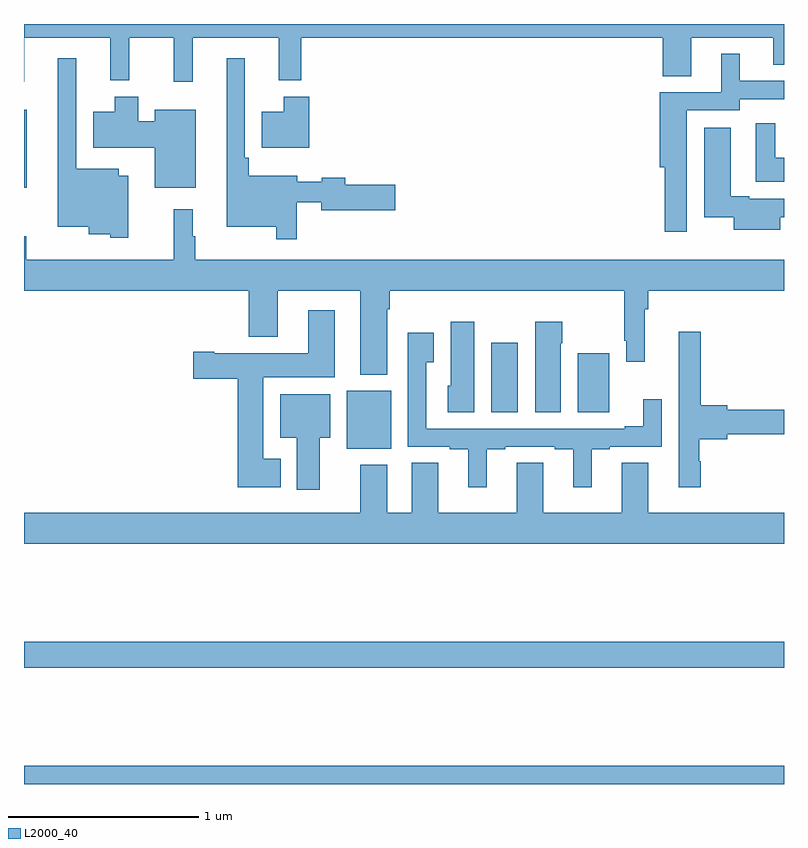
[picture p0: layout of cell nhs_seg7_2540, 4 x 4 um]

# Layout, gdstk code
import gdstk
lib = gdstk.Library(unit=1e-6, precision=1e-09)
def R(c, l, rs):  # rectangles x0, y0, x1, y1
    for r in rs: c.add(gdstk.rectangle(r[:2], r[2:], *l))
def P(c, l, *ps):  # polygons
    for p in ps: c.add(gdstk.Polygon(p, *l))
L2000_40 = (2000, 40)

nhs_seg7_2540 = lib.new_cell('nhs_seg7_2540')
R(nhs_seg7_2540, L2000_40, [(277,1018,281,1018.096), (277,1018.612,281,1018.748), (278.699,1019.765,278.932,1020.07), (279.458,1019.956,279.598,1020.322), (279.914,1019.956,280.081,1020.268), (277,1021.139,277.015,1021.549)])
P(nhs_seg7_2540, L2000_40, [(277.001,1021.928),(277.454,1021.928),(277.454,1021.703),(277.554,1021.703),(277.554,1021.928),(277.789,1021.928),(277.789,1021.695),(277.889,1021.695),(277.889,1021.928),(278.342,1021.928),(278.342,1021.703),(278.459,1021.703),(278.459,1021.928),(280.361,1021.928),(280.361,1021.726),(280.513,1021.726),(280.513,1021.928),(280.943,1021.928),(280.943,1021.786),(281,1021.786),(281,1022),(277,1022),(277,1021.695),(277.001,1021.695)],
  [(280.488,1021.545),(280.767,1021.545),(280.767,1021.605),(281,1021.605),(281,1021.701),(280.768,1021.701),(280.768,1021.843),(280.67,1021.843),(280.67,1021.641),(280.346,1021.641),(280.346,1021.247),(280.372,1021.247),(280.372,1020.906),(280.488,1020.906)],
  [(277.549,1021.201),(277.498,1021.201),(277.498,1021.237),(277.275,1021.237),(277.275,1021.819),(277.178,1021.819),(277.178,1020.932),(277.34,1020.932),(277.34,1020.893),(277.455,1020.893),(277.455,1020.875),(277.549,1020.875)],
  [(278.436,1021.062),(278.564,1021.062),(278.564,1021.019),(278.953,1021.019),(278.953,1021.154),(278.692,1021.154),(278.692,1021.19),(278.568,1021.19),(278.568,1021.171),(278.437,1021.171),(278.437,1021.201),(278.183,1021.201),(278.183,1021.297),(278.163,1021.297),(278.163,1021.819),(278.066,1021.819),(278.066,1020.932),(278.328,1020.932),(278.328,1020.867),(278.436,1020.867)],
  [(277.903,1021.549),(277.688,1021.549),(277.688,1021.489),(277.6,1021.489),(277.6,1021.618),(277.478,1021.618),(277.478,1021.537),(277.364,1021.537),(277.364,1021.349),(277.688,1021.349),(277.688,1021.139),(277.903,1021.139)],
  [(278.501,1021.618),(278.366,1021.618),(278.366,1021.537),(278.252,1021.537),(278.252,1021.349),(278.501,1021.349)],
  [(281,1021.297),(280.954,1021.297),(280.954,1021.477),(280.85,1021.477),(280.85,1021.169),(281,1021.169)],
  [(280.981,1020.984),(281,1020.984),(281,1021.08),(280.816,1021.08),(280.816,1021.093),(280.72,1021.093),(280.72,1021.453),(280.58,1021.453),(280.58,1020.982),(280.736,1020.982),(280.736,1020.917),(280.981,1020.917)],
  [(278.911,1020.5),(278.924,1020.5),(278.924,1020.596),(280.158,1020.596),(280.158,1020.334),(280.17,1020.334),(280.17,1020.222),(280.268,1020.222),(280.268,1020.5),(280.286,1020.5),(280.286,1020.596),(281,1020.596),(281,1020.76),(277.9,1020.76),(277.9,1020.884),(277.888,1020.884),(277.888,1021.024),(277.789,1021.024),(277.789,1020.76),(277.012,1020.76),(277.012,1020.884),(277,1020.884),(277,1020.596),(278.183,1020.596),(278.183,1020.353),(278.335,1020.353),(278.335,1020.596),(278.771,1020.596),(278.771,1020.155),(278.911,1020.155)],
  [(278.35,1019.713),(278.26,1019.713),(278.26,1020.14),(278.635,1020.14),(278.635,1020.493),(278.495,1020.493),(278.495,1020.268),(278.002,1020.268),(278.002,1020.276),(277.89,1020.276),(277.89,1020.134),(278.126,1020.134),(278.126,1019.561),(278.35,1019.561)],
  [(279.826,1020.32),(279.834,1020.32),(279.834,1020.433),(279.692,1020.433),(279.692,1019.956),(279.826,1019.956)],
  [(279.37,1020.433),(279.245,1020.433),(279.245,1020.096),(279.23,1020.096),(279.23,1019.956),(279.37,1019.956)],
  [(280.562,1019.7),(280.555,1019.7),(280.555,1019.815),(280.702,1019.815),(280.702,1019.841),(281,1019.841),(281,1019.969),(280.702,1019.969),(280.702,1019.993),(280.562,1019.993),(280.562,1020.379),(280.445,1020.379),(280.445,1020.076),(280.446,1020.076),(280.446,1019.562),(280.562,1019.562)],
  [(279.436,1019.763),(279.532,1019.763),(279.532,1019.775),(279.794,1019.775),(279.794,1019.763),(279.89,1019.763),(279.89,1019.562),(279.988,1019.562),(279.988,1019.763),(280.084,1019.763),(280.084,1019.775),(280.356,1019.775),(280.356,1020.025),(280.259,1020.025),(280.259,1019.884),(280.163,1019.884),(280.163,1019.871),(279.117,1019.871),(279.117,1020.22),(279.157,1020.22),(279.157,1020.376),(279.021,1020.376),(279.021,1019.775),(279.242,1019.775),(279.242,1019.763),(279.338,1019.763),(279.338,1019.562),(279.436,1019.562)],
  [(278.557,1019.822),(278.611,1019.822),(278.611,1020.052),(278.348,1020.052),(278.348,1019.822),(278.435,1019.822),(278.435,1019.55),(278.557,1019.55)],
  [(281,1019.428),(280.285,1019.428),(280.285,1019.69),(280.145,1019.69),(280.145,1019.428),(279.733,1019.428),(279.733,1019.69),(279.593,1019.69),(279.593,1019.428),(279.181,1019.428),(279.181,1019.69),(279.041,1019.69),(279.041,1019.428),(278.911,1019.428),(278.911,1019.68),(278.771,1019.68),(278.771,1019.428),(277,1019.428),(277,1019.264),(281,1019.264)])

lib.write_gds('nhs_seg7_2540.gds')
